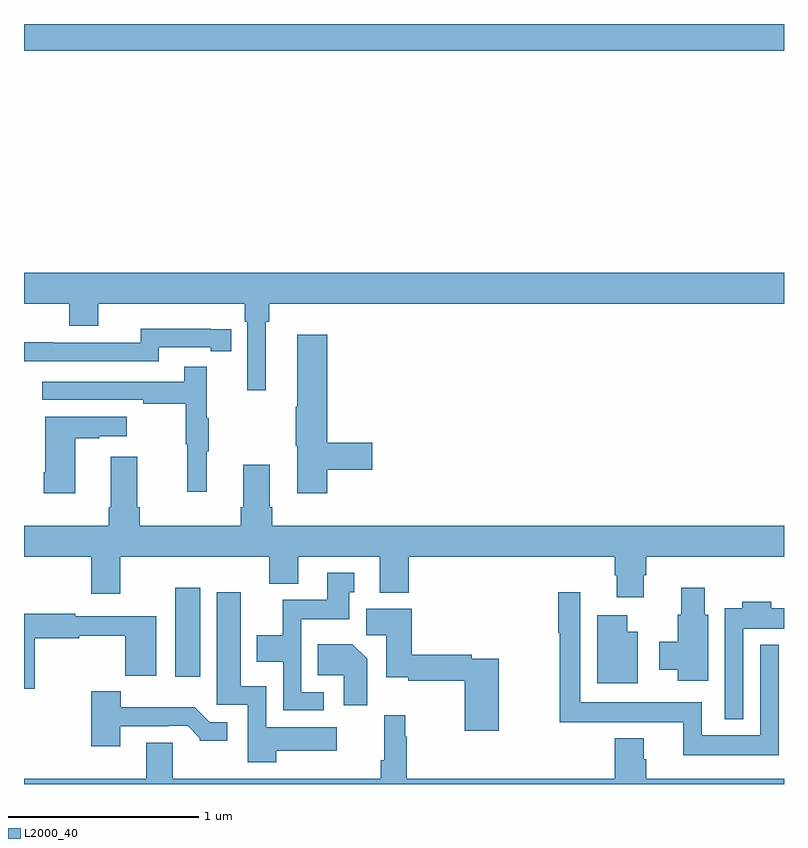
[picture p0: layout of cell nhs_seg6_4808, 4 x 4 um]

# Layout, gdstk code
import gdstk
lib = gdstk.Library(unit=1e-6, precision=1e-09)
def R(c, l, rs):  # rectangles x0, y0, x1, y1
    for r in rs: c.add(gdstk.rectangle(r[:2], r[2:], *l))
def P(c, l, *ps):  # polygons
    for p in ps: c.add(gdstk.Polygon(p, *l))
L2000_40 = (2000, 40)

nhs_seg6_4808 = lib.new_cell('nhs_seg6_4808')
R(nhs_seg6_4808, L2000_40, [(397.796,920.064,397.927,920.533), (397,923.36,401,923.5)])
P(nhs_seg6_4808, L2000_40, [(398.272,921.932),(398.291,921.932),(398.291,922.028),(401,922.028),(401,922.192),(397,922.192),(397,922.028),(397.238,922.028),(397.238,921.911),(397.39,921.911),(397.39,922.028),(398.162,922.028),(398.162,921.932),(398.175,921.932),(398.175,921.573),(398.272,921.573)],
  [(397.71,921.798),(397.982,921.798),(397.982,921.778),(398.09,921.778),(398.09,921.894),(397.982,921.894),(397.982,921.895),(397.614,921.895),(397.614,921.822),(397.154,921.822),(397.154,921.824),(397,921.824),(397,921.726),(397.71,921.726)],
  [(398.597,921.154),(398.833,921.154),(398.833,921.296),(398.597,921.296),(398.597,921.865),(398.438,921.865),(398.438,921.485),(398.431,921.485),(398.431,921.279),(398.438,921.279),(398.438,921.03),(398.597,921.03)],
  [(397.961,921.251),(397.972,921.251),(397.972,921.425),(397.961,921.425),(397.961,921.697),(397.843,921.697),(397.843,921.618),(397.095,921.618),(397.095,921.522),(397.627,921.522),(397.627,921.502),(397.851,921.502),(397.851,921.288),(397.858,921.288),(397.858,921.039),(397.961,921.039)],
  [(397.27,921.319),(397.397,921.319),(397.397,921.329),(397.54,921.329),(397.54,921.433),(397.112,921.433),(397.112,921.142),(397.105,921.142),(397.105,921.03),(397.27,921.03)],
  [(400.261,920.598),(400.274,920.598),(400.274,920.696),(401,920.696),(401,920.86),(398.306,920.86),(398.306,920.956),(398.293,920.956),(398.293,921.181),(398.153,921.181),(398.153,920.956),(398.141,920.956),(398.141,920.86),(397.61,920.86),(397.61,920.956),(397.597,920.956),(397.597,921.223),(397.457,921.223),(397.457,920.956),(397.445,920.956),(397.445,920.86),(397,920.86),(397,920.696),(397.355,920.696),(397.355,920.502),(397.507,920.502),(397.507,920.696),(398.291,920.696),(398.291,920.555),(398.443,920.555),(398.443,920.696),(398.873,920.696),(398.873,920.507),(399.026,920.507),(399.026,920.696),(400.109,920.696),(400.109,920.598),(400.121,920.598),(400.121,920.484),(400.261,920.484)],
  [(398.578,919.983),(398.46,919.983),(398.46,920.366),(398.713,920.366),(398.713,920.508),(398.737,920.508),(398.737,920.611),(398.597,920.611),(398.597,920.47),(398.362,920.47),(398.362,920.284),(398.225,920.284),(398.225,920.144),(398.364,920.144),(398.364,919.887),(398.578,919.887)],
  [(400.6,920.391),(400.582,920.391),(400.582,920.533),(400.46,920.533),(400.46,920.391),(400.442,920.391),(400.442,920.25),(400.343,920.25),(400.343,920.102),(400.442,920.102),(400.442,920.043),(400.6,920.043)],
  [(398.327,919.676),(398.647,919.676),(398.647,919.798),(398.274,919.798),(398.274,920.014),(398.14,920.014),(398.14,920.509),(398.015,920.509),(398.015,919.917),(398.178,919.917),(398.178,919.614),(398.327,919.614)],
  [(400.972,920.233),(400.875,920.233),(400.875,919.756),(400.566,919.756),(400.566,919.93),(399.927,919.93),(399.927,920.509),(399.811,920.509),(399.811,920.296),(399.819,920.296),(399.819,919.826),(400.469,919.826),(400.469,919.652),(400.972,919.652)],
  [(400.785,920.318),(401,920.318),(401,920.425),(400.934,920.425),(400.934,920.458),(400.781,920.458),(400.781,920.425),(400.689,920.425),(400.689,919.841),(400.785,919.841)],
  [(399.498,920.16),(399.356,920.16),(399.356,920.18),(399.041,920.18),(399.041,920.422),(398.801,920.422),(398.801,920.284),(398.906,920.284),(398.906,920.063),(399.022,920.063),(399.022,920.044),(399.32,920.044),(399.32,919.779),(399.498,919.779)],
  [(397.056,920.266),(397.29,920.266),(397.29,920.281),(397.534,920.281),(397.534,920.069),(397.696,920.069),(397.696,920.382),(397.271,920.382),(397.271,920.395),(397,920.395),(397,920.001),(397.056,920.001)],
  [(400.231,920.302),(400.174,920.302),(400.174,920.389),(400.016,920.389),(400.016,920.03),(400.231,920.03)],
  [(398.806,920.158),(398.728,920.236),(398.545,920.236),(398.545,920.072),(398.684,920.072),(398.684,919.914),(398.806,919.914)],
  [(397.507,919.803),(397.763,919.803),(397.763,919.806),(397.862,919.806),(397.926,919.742),(397.926,919.727),(398.071,919.727),(398.071,919.824),(397.977,919.824),(397.899,919.903),(397.51,919.903),(397.51,919.987),(397.355,919.987),(397.355,919.698),(397.507,919.698)],
  [(401,919.528),(400.274,919.528),(400.274,919.629),(400.261,919.629),(400.261,919.741),(400.109,919.741),(400.109,919.528),(399.014,919.528),(399.014,919.748),(399.007,919.748),(399.007,919.861),(398.896,919.861),(398.896,919.624),(398.878,919.624),(398.878,919.528),(397.783,919.528),(397.783,919.718),(397.643,919.718),(397.643,919.528),(397,919.528),(397,919.5),(401,919.5)])

lib.write_gds('nhs_seg6_4808.gds')
